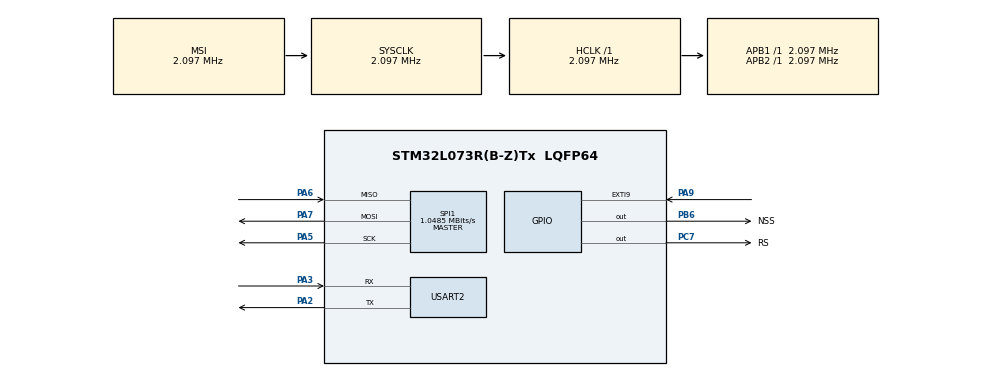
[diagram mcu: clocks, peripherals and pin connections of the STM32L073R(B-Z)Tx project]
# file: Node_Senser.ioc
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Mcu.Family=STM32L0
Mcu.Name=STM32L073R(B-Z)Tx
Mcu.Package=LQFP64
NVIC.EXTI4_15_IRQn=true\:0\:0\:false\:false\:true\:true\:true
NVIC.RTC_IRQn=true\:1\:0\:true\:false\:true\:true\:true
PA13.Mode=Serial_Wire
PA13.Signal=SYS_SWDIO
PA14.Mode=Serial_Wire
PA14.Signal=SYS_SWCLK
PA2.Mode=Asynchronous
PA2.Signal=USART2_TX
PA3.Mode=Asynchronous
PA3.Signal=USART2_RX
PA5.Mode=Full_Duplex_Master
PA5.Signal=SPI1_SCK
PA6.Mode=Full_Duplex_Master
PA6.Signal=SPI1_MISO
PA7.Mode=Full_Duplex_Master
PA7.Signal=SPI1_MOSI
PA9.GPIO_PuPd=GPIO_PULLDOWN
PA9.Signal=GPXTI9
PB6.GPIO_Label=NSS
PB6.GPIO_PuPd=GPIO_PULLUP
PB6.Signal=GPIO_Output
PC14-OSC32_IN.Mode=LSE-External-Oscillator
PC14-OSC32_IN.Signal=RCC_OSC32_IN
PC15-OSC32_OUT.Mode=LSE-External-Oscillator
PC15-OSC32_OUT.Signal=RCC_OSC32_OUT
PC7.GPIO_Label=RS
PC7.GPIO_PuPd=GPIO_PULLUP
PC7.Signal=GPIO_Output
ProjectManager.HeapSize=0x200
ProjectManager.StackSize=0x400
ProjectManager.TargetToolchain=STM32CubeIDE
RCC.AHBFreq_Value=2097000
RCC.APB1Freq_Value=2097000
RCC.APB1TimFreq_Value=2097000
RCC.APB2Freq_Value=2097000
RCC.APB2TimFreq_Value=2097000
RCC.HSE_VALUE=8000000
RCC.HSI16_VALUE=16000000
RCC.HSI48_VALUE=48000000
RCC.HSI_VALUE=16000000
RCC.MSI_VALUE=2097000
RCC.RTCClockSelection=RCC_RTCCLKSOURCE_LSE
RCC.SYSCLKFreq_VALUE=2097000
RCC.VCOOutputFreq_Value=48000000
RTC.Alarm-Alarm\ A=RTC_ALARM_A
RTC.Alarm_B-Alarm\ B=RTC_ALARM_B
SPI1.CalculateBaudRate=1.0485 MBits/s
SPI1.Direction=SPI_DIRECTION_2LINES
SPI1.Mode=SPI_MODE_MASTER
SPI1.VirtualType=VM_MASTER
USART2.VirtualMode-Asynchronous=VM_ASYNC
VP_RTC_VS_RTC_Activate.Mode=RTC_Enabled
VP_RTC_VS_RTC_Alarm_A_Intern.Mode=Alarm A
VP_RTC_VS_RTC_Alarm_B_Intern.Mode=Alarm B
VP_RTC_VS_RTC_Calendar.Mode=RTC_Calendar
board=custom

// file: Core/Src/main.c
/* USER CODE BEGIN Header */
/**
  ******************************************************************************
  * @file           : main.c
  * @brief          : Main program body
  ******************************************************************************
  * @attention
  *
  * Copyright (c) 2023 STMicroelectronics.
  * All rights reserved.
  *
  * This software is licensed under terms that can be found in the LICENSE file
  * in the root directory of this software component.
  * If no LICENSE file comes with this software, it is provided AS-IS.
  *
  ******************************************************************************
  */
/* USER CODE END Header */
#include "main.h"

/* USER CODE BEGIN Includes */
#include"node_layer.h"

/* USER CODE END Includes */

/* USER CODE BEGIN PTD */
uint8_t timer[20]={0};
uint8_t date[20]={0};
uint8_t buffer[150]={0};
uint8_t data[200]={0};
uint8_t alarm = 0;
extern RFM95_HandleTypedef Node;
Queue_HandleTypedef queue ;
/* USER CODE END PTD */

RTC_HandleTypeDef hrtc;

SPI_HandleTypeDef hspi1;

UART_HandleTypeDef huart2;

void SystemClock_Config(void);
static void MX_GPIO_Init(void);
static void MX_RTC_Init(void);
static void MX_SPI1_Init(void);
static void MX_USART2_UART_Init(void);

/* USER CODE BEGIN 0 */
int _write(int file, char *ptr, int len)
{
	HAL_UART_Transmit(&huart2, (uint8_t*) ptr, len, 10000);
	return len;
}
void HAL_GPIO_EXTI_Callback(uint16_t GPIO_Pin)
{
	if (GPIO_Pin == GPIO_PIN_9)
	{
		memset(buffer, 0, 200);
		RFM95_receiveFromEXTI(&Node, buffer, sizeof(buffer));
		pushQueue(&queue,buffer);
	}
}
void onSleep(void){
   if (__HAL_PWR_GET_FLAG(PWR_FLAG_SB) != RESET)
   {
 	  __HAL_PWR_CLEAR_FLAG(PWR_FLAG_SB);  // clear the flag

 	  /** Deactivate the RTC wakeup  **/
 	  HAL_RTCEx_DeactivateWakeUpTimer(&hrtc);
   }

   __HAL_PWR_CLEAR_FLAG(PWR_FLAG_WU);

    /* clear the RTC Wake UP (WU) flag */
   __HAL_RTC_WAKEUPTIMER_CLEAR_FLAG(&hrtc, RTC_FLAG_WUTF);

   /* enable the RTC Wakeup */
   /*
			counter = time-1
     */
    if (HAL_RTCEx_SetWakeUpTimer_IT(&hrtc,100-1, RTC_WAKEUPCLOCK_CK_SPRE_16BITS) != HAL_OK)
      {
    	Error_Handler();
      }
     HAL_PWR_EnterSTANDBYMode();
}

void HAL_RTC_AlarmAEventCallback(RTC_HandleTypeDef *hrtc)
{
	alarm =1;
}
/* USER CODE END 0 */

int main(void)
{

  /* MCU Configuration--------------------------------------------------------*/

  /* Reset of all peripherals, Initializes the Flash interface and the Systick. */
  HAL_Init();

  /* Configure the system clock */
  SystemClock_Config();

  /* Initialize all configured peripherals */
  MX_GPIO_Init();
  MX_RTC_Init();
  MX_SPI1_Init();
  MX_USART2_UART_Init();
  /* USER CODE BEGIN 2 */
  if(HAL_RTCEx_BKUPRead(&hrtc, RTC_BKP_DR1) != 0x478)
         {
           setTime();
         }
    initLoRa();
    if(getFlagStart()!=true){
    	  initAddrIntoFlash();
    	  nodeStart();
    	  uint8_t time[3]={0};
    	  getTime(time);
    	  time[2]+=5;
    	  if(time[2]>=60){
    		  time[2]=time[2]%10;
    		  time[1]+=1;
    		  if(time[1]>=60){
    			  time[1]=time[1]%10;
    			  time[0]+=1;
    			  if(time[0]>=24){
    				  time[0]=00;
    			  }
    		  }
    	  }
    	  setAlarm(binaryToBCD(time[0]),binaryToBCD(time[1]),binaryToBCD(time[2]));
    	  while(1){
    		  uint8_t buffer[MAX_SIZE_DATA]={0};
    		  uint8_t data[MAX_SIZE_DATA-10]={0};
    		  packetID_HandleTypedef bufferID ;
    		  if(isEmpty(&queue)!=true){
    			  popQueue(&queue,buffer);
    			  separatePacket(buffer,&bufferID,data);
    			  if(checkIDNextwork(&bufferID)){
    				  setFlagStart();
    				  break;
    			  }
    		  }
    		  if(alarm==1){
    			  uint8_t time[3]={0};
    			  getTime(time);
    			  time[2]+=5;
    			  nodeStart();
    			  if(time[2]>=60){
    				  time[2]=time[2]%10;
    				  time[1]+=1;
    				  if(time[1]>=60){
    					  time[1]=time[1]%10;
    					  time[0]+=1;
    					  if(time[0]>=24){
    						  time[0]=00;
    					  }
    				  }
    			  }
    			  setAlarm(binaryToBCD(time[0]),binaryToBCD(time[1]),binaryToBCD(time[2]));
    			  alarm=0;
    		  }
    	  }
      }

  /* USER CODE END 2 */

  /* Infinite loop */
  while (1)
  {

  }
}

void SystemClock_Config(void)
{
  RCC_OscInitTypeDef RCC_OscInitStruct = {0};
  RCC_ClkInitTypeDef RCC_ClkInitStruct = {0};
  RCC_PeriphCLKInitTypeDef PeriphClkInit = {0};

  /** Configure the main internal regulator output voltage
  */
  __HAL_PWR_VOLTAGESCALING_CONFIG(PWR_REGULATOR_VOLTAGE_SCALE1);
  /** Configure LSE Drive Capability
  */
  HAL_PWR_EnableBkUpAccess();
  __HAL_RCC_LSEDRIVE_CONFIG(RCC_LSEDRIVE_LOW);
  /** Initializes the RCC Oscillators according to the specified parameters
  * in the RCC_OscInitTypeDef structure.
  */
  RCC_OscInitStruct.OscillatorType = RCC_OSCILLATORTYPE_LSE|RCC_OSCILLATORTYPE_MSI;
  RCC_OscInitStruct.LSEState = RCC_LSE_ON;
  RCC_OscInitStruct.MSIState = RCC_MSI_ON;
  RCC_OscInitStruct.MSICalibrationValue = 0;
  RCC_OscInitStruct.MSIClockRange = RCC_MSIRANGE_5;
  RCC_OscInitStruct.PLL.PLLState = RCC_PLL_NONE;
  if (HAL_RCC_OscConfig(&RCC_OscInitStruct) != HAL_OK)
  {
    Error_Handler();
  }
  /** Initializes the CPU, AHB and APB buses clocks
  */
  RCC_ClkInitStruct.ClockType = RCC_CLOCKTYPE_HCLK|RCC_CLOCKTYPE_SYSCLK
                              |RCC_CLOCKTYPE_PCLK1|RCC_CLOCKTYPE_PCLK2;
  RCC_ClkInitStruct.SYSCLKSource = RCC_SYSCLKSOURCE_MSI;
  RCC_ClkInitStruct.AHBCLKDivider = RCC_SYSCLK_DIV1;
  RCC_ClkInitStruct.APB1CLKDivider = RCC_HCLK_DIV1;
  RCC_ClkInitStruct.APB2CLKDivider = RCC_HCLK_DIV1;

  if (HAL_RCC_ClockConfig(&RCC_ClkInitStruct, FLASH_LATENCY_0) != HAL_OK)
  {
    Error_Handler();
  }
  PeriphClkInit.PeriphClockSelection = RCC_PERIPHCLK_USART2|RCC_PERIPHCLK_RTC;
  PeriphClkInit.Usart2ClockSelection = RCC_USART2CLKSOURCE_PCLK1;
  PeriphClkInit.RTCClockSelection = RCC_RTCCLKSOURCE_LSE;
  if (HAL_RCCEx_PeriphCLKConfig(&PeriphClkInit) != HAL_OK)
  {
    Error_Handler();
  }
}

static void MX_RTC_Init(void)
{

//
//  RTC_TimeTypeDef sTime = {0};
//  RTC_DateTypeDef sDate = {0};
//  RTC_AlarmTypeDef sAlarm = {0};

  /** Initialize RTC Only
  */
  hrtc.Instance = RTC;
  hrtc.Init.HourFormat = RTC_HOURFORMAT_24;
  hrtc.Init.AsynchPrediv = 127;
  hrtc.Init.SynchPrediv = 255;
  hrtc.Init.OutPut = RTC_OUTPUT_DISABLE;
  hrtc.Init.OutPutRemap = RTC_OUTPUT_REMAP_NONE;
  hrtc.Init.OutPutPolarity = RTC_OUTPUT_POLARITY_HIGH;
  hrtc.Init.OutPutType = RTC_OUTPUT_TYPE_OPENDRAIN;
  if (HAL_RTC_Init(&hrtc) != HAL_OK)
  {
    Error_Handler();
  }

  /* USER CODE BEGIN Check_RTC_BKUP */
//	  HAL_RTCEx_BKUPWrite(&hrtc, RTC_BKP_DR1, 0x478);  // backup register
  /* USER CODE END Check_RTC_BKUP */

  /** Initialize RTC and set the Time and Date
  */
//  sTime.Hours = 0x0;
//  sTime.Minutes = 0x0;
//  sTime.Seconds = 0x0;
//  sTime.DayLightSaving = RTC_DAYLIGHTSAVING_NONE;
//  sTime.StoreOperation = RTC_STOREOPERATION_RESET;
//  if (HAL_RTC_SetTime(&hrtc, &sTime, RTC_FORMAT_BCD) != HAL_OK)
//  {
//    Error_Handler();
//  }
//  sDate.WeekDay = RTC_WEEKDAY_MONDAY;
//  sDate.Month = RTC_MONTH_JANUARY;
//  sDate.Date = 0x1;
//  sDate.Year = 0x0;
//
//  if (HAL_RTC_SetDate(&hrtc, &sDate, RTC_FORMAT_BCD) != HAL_OK)
//  {
//    Error_Handler();
//  }
//  /** Enable the Alarm A
//  */
//  sAlarm.AlarmTime.Hours = 0x0;
//  sAlarm.AlarmTime.Minutes = 0x0;
//  sAlarm.AlarmTime.Seconds = 0x0;
//  sAlarm.AlarmTime.SubSeconds = 0x0;
//  sAlarm.AlarmTime.DayLightSaving = RTC_DAYLIGHTSAVING_NONE;
//  sAlarm.AlarmTime.StoreOperation = RTC_STOREOPERATION_RESET;
//  sAlarm.AlarmMask = RTC_ALARMMASK_NONE;
//  sAlarm.AlarmSubSecondMask = RTC_ALARMSUBSECONDMASK_ALL;
//  sAlarm.AlarmDateWeekDaySel = RTC_ALARMDATEWEEKDAYSEL_DATE;
//  sAlarm.AlarmDateWeekDay = 0x1;
//  sAlarm.Alarm = RTC_ALARM_A;
//  if (HAL_RTC_SetAlarm_IT(&hrtc, &sAlarm, RTC_FORMAT_BCD) != HAL_OK)
//  {
//    Error_Handler();
//  }
//  /** Enable the Alarm B
//  */
//  sAlarm.Alarm = RTC_ALARM_B;
//  if (HAL_RTC_SetAlarm_IT(&hrtc, &sAlarm, RTC_FORMAT_BCD) != HAL_OK)
//  {
//    Error_Handler();
//  }

}

static void MX_SPI1_Init(void)
{

  /* SPI1 parameter configuration*/
  hspi1.Instance = SPI1;
  hspi1.Init.Mode = SPI_MODE_MASTER;
  hspi1.Init.Direction = SPI_DIRECTION_2LINES;
  hspi1.Init.DataSize = SPI_DATASIZE_8BIT;
  hspi1.Init.CLKPolarity = SPI_POLARITY_LOW;
  hspi1.Init.CLKPhase = SPI_PHASE_1EDGE;
  hspi1.Init.NSS = SPI_NSS_SOFT;
  hspi1.Init.BaudRatePrescaler = SPI_BAUDRATEPRESCALER_2;
  hspi1.Init.FirstBit = SPI_FIRSTBIT_MSB;
  hspi1.Init.TIMode = SPI_TIMODE_DISABLE;
  hspi1.Init.CRCCalculation = SPI_CRCCALCULATION_DISABLE;
  hspi1.Init.CRCPolynomial = 7;
  if (HAL_SPI_Init(&hspi1) != HAL_OK)
  {
    Error_Handler();
  }

}

static void MX_USART2_UART_Init(void)
{

  huart2.Instance = USART2;
  huart2.Init.BaudRate = 115200;
  huart2.Init.WordLength = UART_WORDLENGTH_8B;
  huart2.Init.StopBits = UART_STOPBITS_1;
  huart2.Init.Parity = UART_PARITY_NONE;
  huart2.Init.Mode = UART_MODE_TX_RX;
  huart2.Init.HwFlowCtl = UART_HWCONTROL_NONE;
  huart2.Init.OverSampling = UART_OVERSAMPLING_16;
  huart2.Init.OneBitSampling = UART_ONE_BIT_SAMPLE_DISABLE;
  huart2.AdvancedInit.AdvFeatureInit = UART_ADVFEATURE_NO_INIT;
  if (HAL_UART_Init(&huart2) != HAL_OK)
  {
    Error_Handler();
  }

}

static void MX_GPIO_Init(void)
{
  GPIO_InitTypeDef GPIO_InitStruct = {0};

  /* GPIO Ports Clock Enable */
  __HAL_RCC_GPIOC_CLK_ENABLE();
  __HAL_RCC_GPIOA_CLK_ENABLE();
  __HAL_RCC_GPIOB_CLK_ENABLE();

  /*Configure GPIO pin Output Level */
  HAL_GPIO_WritePin(RS_GPIO_Port, RS_Pin, GPIO_PIN_RESET);

  /*Configure GPIO pin Output Level */
  HAL_GPIO_WritePin(NSS_GPIO_Port, NSS_Pin, GPIO_PIN_RESET);

  /*Configure GPIO pin : RS_Pin */
  GPIO_InitStruct.Pin = RS_Pin;
  GPIO_InitStruct.Mode = GPIO_MODE_OUTPUT_PP;
  GPIO_InitStruct.Pull = GPIO_PULLUP;
  GPIO_InitStruct.Speed = GPIO_SPEED_FREQ_LOW;
  HAL_GPIO_Init(RS_GPIO_Port, &GPIO_InitStruct);

  /*Configure GPIO pin : PA9 */
  GPIO_InitStruct.Pin = GPIO_PIN_9;
  GPIO_InitStruct.Mode = GPIO_MODE_IT_RISING;
  GPIO_InitStruct.Pull = GPIO_PULLDOWN;
  HAL_GPIO_Init(GPIOA, &GPIO_InitStruct);

  /*Configure GPIO pin : NSS_Pin */
  GPIO_InitStruct.Pin = NSS_Pin;
  GPIO_InitStruct.Mode = GPIO_MODE_OUTPUT_PP;
  GPIO_InitStruct.Pull = GPIO_PULLUP;
  GPIO_InitStruct.Speed = GPIO_SPEED_FREQ_LOW;
  HAL_GPIO_Init(NSS_GPIO_Port, &GPIO_InitStruct);

  /* EXTI interrupt init*/
  HAL_NVIC_SetPriority(EXTI4_15_IRQn, 0, 0);
  HAL_NVIC_EnableIRQ(EXTI4_15_IRQn);

}

void Error_Handler(void)
{
  __disable_irq();
  while (1)
  {
  }
}
